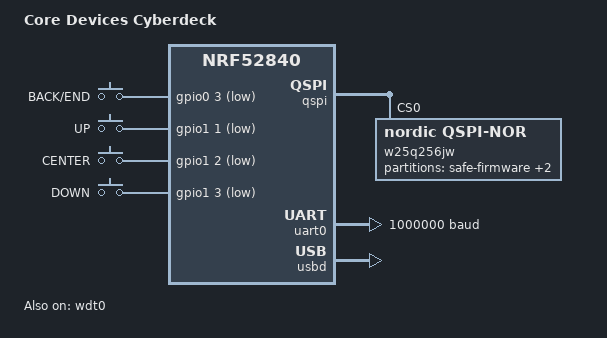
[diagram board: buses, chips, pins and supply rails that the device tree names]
/*
 * Copyright (c) 2026 Core Devices LLC
 * SPDX-License-Identifier: Apache-2.0
 */

/dts-v1/;

#include <nordic/nrf52840_qiaa.dtsi>
#include <zephyr/dt-bindings/gpio/gpio.h>
#include <zephyr/dt-bindings/input/input-event-codes.h>

#include "cyberdeck-pinctrl.dtsi"

/ {
	model = "Core Devices Cyberdeck";
	compatible = "coredevices,cyberdeck";

	chosen {
		zephyr,flash = &flash0;
		zephyr,flash-controller = &flash_controller;
		zephyr,code-partition = &firmware_partition;
		zephyr,console = &uart0;
		zephyr,shell-uart = &uart0;

		pb,firmware = &firmware_partition;
		pb,btn-back = &btn_back;
		pb,btn-up = &btn_up;
		pb,btn-center = &btn_center;
		pb,btn-down = &btn_down;
		pb,wdt = &wdt0;
	};

	buttons: buttons {
		compatible = "gpio-keys";

		/* END CALL key, used for bootloader entry decisions in later stages. */
		btn_back: button-back {
			gpios = <&gpio0 3 (GPIO_ACTIVE_LOW | GPIO_PULL_UP)>;
			label = "BACK/END";
			zephyr,code = <INPUT_KEY_BACK>;
		};

		btn_up: button-up {
			gpios = <&gpio1 1 (GPIO_ACTIVE_LOW | GPIO_PULL_UP)>;
			label = "UP";
			zephyr,code = <INPUT_KEY_UP>;
		};

		btn_center: button-center {
			gpios = <&gpio1 2 (GPIO_ACTIVE_LOW | GPIO_PULL_UP)>;
			label = "CENTER";
			zephyr,code = <INPUT_KEY_ENTER>;
		};

		btn_down: button-down {
			gpios = <&gpio1 3 (GPIO_ACTIVE_LOW | GPIO_PULL_UP)>;
			label = "DOWN";
			zephyr,code = <INPUT_KEY_DOWN>;
		};
	};

	display {
		status = "disabled";
	};

	neopixel {
		status = "disabled";
	};

	aliases {
		sw0 = &btn_back;
		sw1 = &btn_up;
		sw2 = &btn_center;
		sw3 = &btn_down;
		watchdog0 = &wdt0;
	};
};

&flash0 {
	partitions {
		compatible = "fixed-partitions";
		#address-cells = <1>;
		#size-cells = <1>;

		boot_partition: partition@0 {
			label = "boot";
			reg = <0x00000000 DT_SIZE_K(48)>;
		};

		firmware_partition: partition@c000 {
			label = "firmware";
			reg = <0x0000c000 0x000f4000>;
		};
	};
};

&gpiote {
	status = "okay";
};

&gpio0 {
	status = "okay";
};

&gpio1 {
	status = "okay";
};

&qspi {
	status = "okay";
	pinctrl-0 = <&qspi_default>;
	pinctrl-1 = <&qspi_sleep>;
	pinctrl-names = "default", "sleep";

	w25q256jw: memory@0 {
		compatible = "nordic,qspi-nor";
		status = "okay";
		reg = <0>;
		writeoc = "pp4o";
		readoc = "read4io";
		sck-frequency = <8000000>;
		quad-enable-requirements = "S2B1v6";
		address-size-32;
		enter-4byte-addr = <0xb7>;
		jedec-id = [ef 60 19];
		size = <DT_SIZE_M(256)>;
		has-dpd;
		t-enter-dpd = <3000>;
		t-exit-dpd = <20000>;

		partitions {
			compatible = "fixed-partitions";
			#address-cells = <1>;
			#size-cells = <1>;

			safe_firmware_partition: partition@0 {
				label = "safe-firmware";
				reg = <0x00000000 DT_SIZE_K(512)>;
			};

			firmware_scratch_partition: partition@80000 {
				label = "firmware-scratch";
				reg = <0x00080000 DT_SIZE_K(1024)>;
			};

			prf_partition: partition@180000 {
				label = "prf";
				reg = <0x00180000 DT_SIZE_K(512)>;
			};
		};
	};
};

&uart0 {
	compatible = "nordic,nrf-uarte";
	status = "okay";
	current-speed = <1000000>;
	pinctrl-0 = <&uart0_default>;
	pinctrl-1 = <&uart0_sleep>;
	pinctrl-names = "default", "sleep";
};

zephyr_udc0: &usbd {
	compatible = "nordic,nrf-usbd";
	status = "okay";
};

&wdt0 {
	status = "okay";
};
